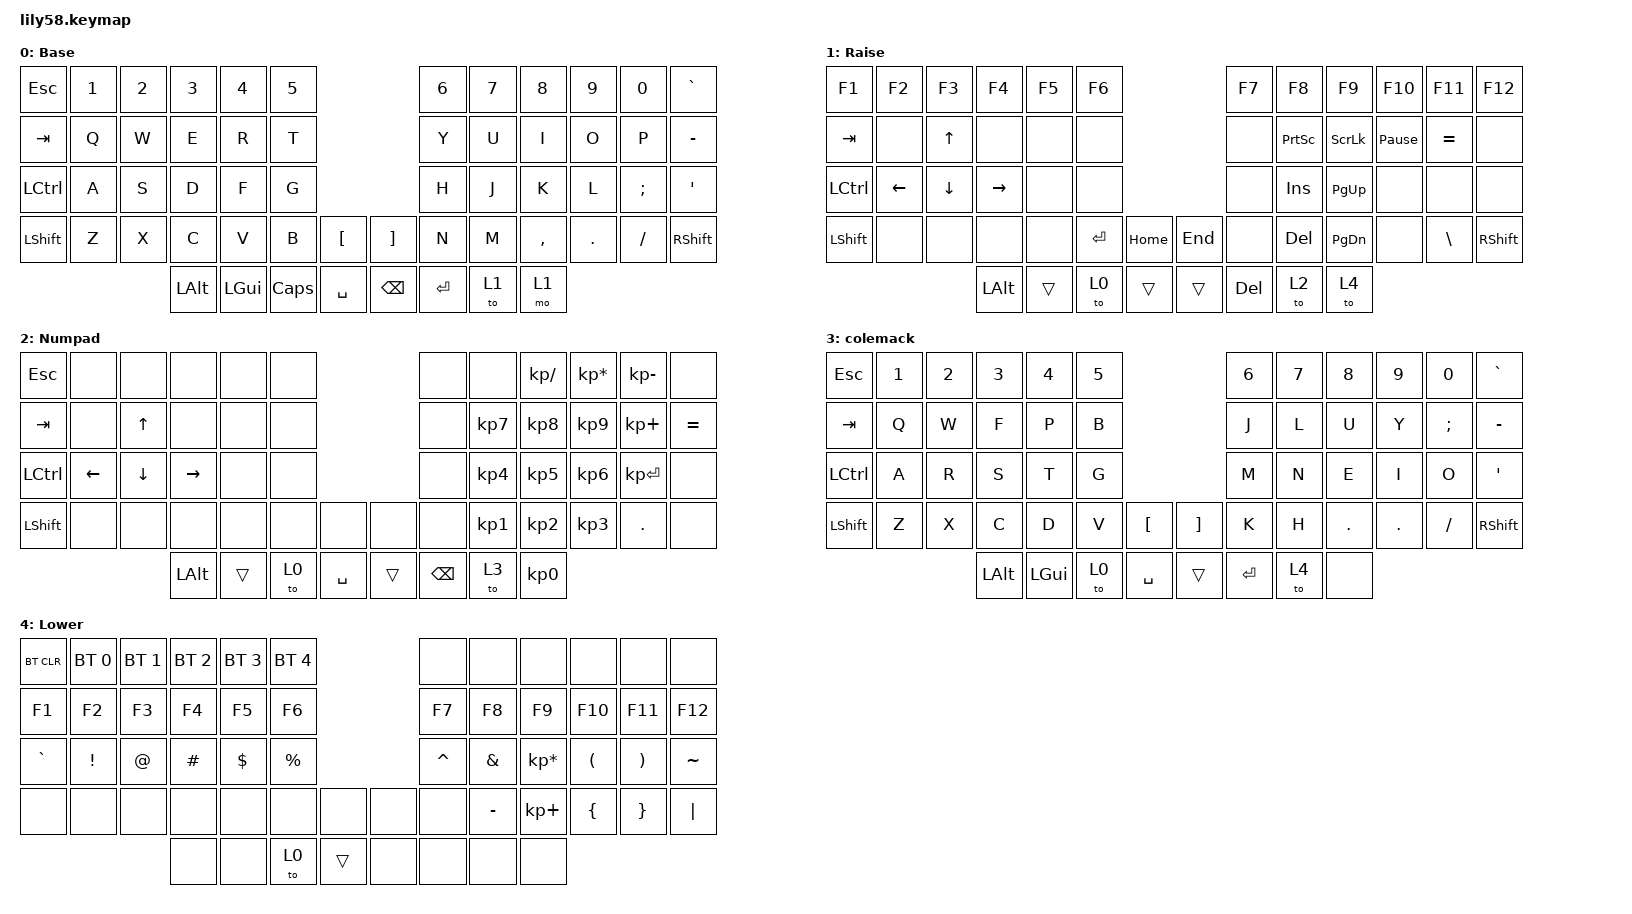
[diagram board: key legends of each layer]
#include <behaviors.dtsi>
#include <dt-bindings/zmk/bt.h>
#include <dt-bindings/zmk/keys.h>

/ {
    keymap {
        compatible = "zmk,keymap";

        default_layer {
            // ------------------------------------------------------------------------------------------------------------
            // |  ESC  |  1  |  2  |  3   |  4   |  5   |                   |  6   |  7    |  8    |  9   |   0   |   `   |
            // |  TAB  |  Q  |  W  |  E   |  R   |  T   |                   |  Y   |  U    |  I    |  O   |   P   |   -   |
            // |  CTRL |  A  |  S  |  D   |  F   |  G   |                   |  H   |  J    |  K    |  L   |   ;   |   '   |
            // | SHIFT |  Z  |  X  |  C   |  V   |  B   |   "["  |  |  "]"  |  N   |  M    |  ,    |  .   |   /   | SHIFT |
            //                     | ALT  | GUI  | LOWER|  SPACE |  | ENTER | RAISE| BSPC  | GUI   |

            display-name = "Base";
            bindings = <
&kp ESC    &kp N1  &kp N2  &kp N3    &kp N4    &kp N5                           &kp N6     &kp N7  &kp N8     &kp N9   &kp N0    &kp GRAVE
&kp TAB    &kp Q   &kp W   &kp E     &kp R     &kp T                            &kp Y      &kp U   &kp I      &kp O    &kp P     &kp MINUS
&kp LCTRL  &kp A   &kp S   &kp D     &kp F     &kp G                            &kp H      &kp J   &kp K      &kp L    &kp SEMI  &kp SQT
&kp LSHFT  &kp Z   &kp X   &kp C     &kp V     &kp B     &kp LBKT     &kp RBKT  &kp N      &kp M   &kp COMMA  &kp DOT  &kp FSLH  &kp RSHFT
                           &kp LALT  &kp LGUI  &kp CAPS  &kp SPACE    &kp BSPC  &kp ENTER  &to 1   &mo 1
            >;
        };

        raise_layer {
            // ------------------------------------------------------------------------------------------------------------
            // |       |     |     |      |      |      |                   |      |       |       |      |       |       |
            // |   `   |  1  |  2  |  3   |  4   |  5   |                   |  6   |   7   |   8   |  9   |   0   |       |
            // |   F1  |  F2 |  F3 |  F4  |  F5  |  F6  |                   |      |   <-  |   v   |  ^   |  ->   |       |
            // |   F7  |  F8 |  F9 |  F10 |  F11 |  F12 |        |  |       |  +   |   -   |   =   |  [   |   ]   |   \   |
            //                     |      |      |      |        |  |       |      |       |       |

            display-name = "Raise";
            bindings = <
&kp F1     &kp F2    &kp F3    &kp F4     &kp F5  &kp F6                          &kp F7   &kp F8           &kp F9          &kp F10          &kp F11    &kp F12
&kp TAB    &none     &kp UP    &none      &none   &none                           &none    &kp PRINTSCREEN  &kp SCROLLLOCK  &kp PAUSE_BREAK  &kp EQUAL  &none
&kp LCTRL  &kp LEFT  &kp DOWN  &kp RIGHT  &none   &none                           &none    &kp INS          &kp PAGE_UP     &none            &none      &none
&kp LSHFT  &none     &none     &none      &none   &kp ENTER  &kp HOME    &kp END  &none    &kp DELETE       &kp PAGE_DOWN   &none            &kp BSLH   &kp RIGHT_SHIFT
                               &kp LALT   &trans  &to 0      &trans      &trans   &kp DEL  &to 2            &to 4
            >;
        };

        numpad_layer {
            bindings = <
&kp ESC    &none     &none     &none      &none   &none                       &none     &none            &kp KP_DIVIDE    &kp KP_MULTIPLY  &kp KP_MINUS  &none
&kp TAB    &none     &kp UP    &none      &none   &none                       &none     &kp KP_NUMBER_7  &kp KP_NUMBER_8  &kp KP_NUMBER_9  &kp KP_PLUS   &kp EQUAL
&kp LCTRL  &kp LEFT  &kp DOWN  &kp RIGHT  &none   &none                       &none     &kp KP_NUMBER_4  &kp KP_NUMBER_5  &kp KP_NUMBER_6  &kp KP_ENTER  &none
&kp LSHFT  &none     &none     &none      &none   &none  &none        &none   &none     &kp KP_NUMBER_1  &kp KP_NUMBER_2  &kp KP_NUMBER_3  &kp DOT       &none
                               &kp LALT   &trans  &to 0  &kp SPACE    &trans  &kp BSPC  &to 3            &kp KP_NUMBER_0
            >;

            label = "Numpad";
        };

        colemack_layer {
            bindings = <
&kp ESC    &kp N1  &kp N2  &kp N3    &kp N4    &kp N5                         &kp N6     &kp N7  &kp N8   &kp N9   &kp N0    &kp GRAVE
&kp TAB    &kp Q   &kp W   &kp F     &kp P     &kp B                          &kp J      &kp L   &kp U    &kp Y    &kp SEMI  &kp MINUS
&kp LCTRL  &kp A   &kp R   &kp S     &kp T     &kp G                          &kp M      &kp N   &kp E    &kp I    &kp O     &kp APOS
&kp LSHFT  &kp Z   &kp X   &kp C     &kp D     &kp V   &kp LBKT     &kp RBKT  &kp K      &kp H   &kp DOT  &kp DOT  &kp FSLH  &kp RSHFT
                           &kp LALT  &kp LGUI  &to 0   &kp SPACE    &trans    &kp ENTER  &to 4   &none
            >;

            label = "colemack";
        };

        lower_layer {
            // ------------------------------------------------------------------------------------------------------------
            // | BTCLR | BT1 | BT2 |  BT3 |  BT4 |  BT5 |                   |      |       |       |      |       |       |
            // |  F1   |  F2 |  F3 |  F4  |  F5  |  F6  |                   |  F7  |  F8   |  F9   |  F10 |  F11  |  F12  |
            // |   `   |  !  |  @  |  #   |  $   |  %   |                   |  ^   |  &    |  *    |  (   |   )   |   ~   |
            // |       |     |     |      |      |      |        |  |       |      |  _    |  +    |  {   |   }   |  "|"  |
            //                     |      |      |      |        |  |       |      |       |       |

            display-name = "Lower";
            bindings = <
&bt BT_CLR  &bt BT_SEL 0  &bt BT_SEL 1  &bt BT_SEL 2  &bt BT_SEL 3  &bt BT_SEL 4                   &none      &none      &none            &none     &none     &none
&kp F1      &kp F2        &kp F3        &kp F4        &kp F5        &kp F6                         &kp F7     &kp F8     &kp F9           &kp F10   &kp F11   &kp F12
&kp GRAVE   &kp EXCL      &kp AT        &kp HASH      &kp DOLLAR    &kp PRCNT                      &kp CARET  &kp AMPS   &kp KP_MULTIPLY  &kp LPAR  &kp RPAR  &kp TILDE
&none       &none         &none         &none         &none         &none         &none     &none  &none      &kp MINUS  &kp KP_PLUS      &kp LBRC  &kp RBRC  &kp PIPE
                                        &none         &none         &to 0         &trans    &none  &none      &none      &none
            >;
        };
    };
};
